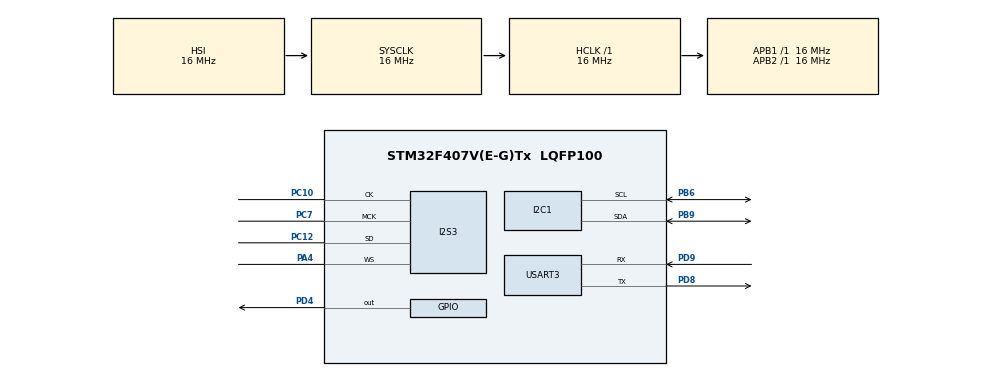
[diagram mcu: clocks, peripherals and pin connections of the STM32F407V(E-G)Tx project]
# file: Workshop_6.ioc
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Dma.Request0=SPI3_TX
Dma.SPI3_TX.0.Direction=DMA_MEMORY_TO_PERIPH
Dma.SPI3_TX.0.FIFOMode=DMA_FIFOMODE_ENABLE
Dma.SPI3_TX.0.FIFOThreshold=DMA_FIFO_THRESHOLD_FULL
Dma.SPI3_TX.0.Instance=DMA1_Stream5
Dma.SPI3_TX.0.MemBurst=DMA_MBURST_SINGLE
Dma.SPI3_TX.0.MemDataAlignment=DMA_MDATAALIGN_HALFWORD
Dma.SPI3_TX.0.MemInc=DMA_MINC_ENABLE
Dma.SPI3_TX.0.Mode=DMA_CIRCULAR
Dma.SPI3_TX.0.PeriphBurst=DMA_PBURST_SINGLE
Dma.SPI3_TX.0.PeriphDataAlignment=DMA_PDATAALIGN_HALFWORD
Dma.SPI3_TX.0.PeriphInc=DMA_PINC_DISABLE
Dma.SPI3_TX.0.Priority=DMA_PRIORITY_LOW
I2S3.AudioFreq=I2S_AUDIOFREQ_48K
I2S3.ErrorAudioFreq=-2.34 %
I2S3.FullDuplexMode=I2S_FULLDUPLEXMODE_DISABLE
I2S3.Instance=SPI$Index
I2S3.RealAudioFreq=46.875 KHz
I2S3.VirtualMode=I2S_MODE_MASTER
Mcu.Family=STM32F4
Mcu.Name=STM32F407V(E-G)Tx
Mcu.Package=LQFP100
NVIC.DMA1_Stream5_IRQn=true\:0\:0\:false\:false\:true\:false\:true\:true
NVIC.PriorityGroup=NVIC_PRIORITYGROUP_4
PA4.Mode=Half_Duplex_Master
PA4.Signal=I2S3_WS
PB6.Mode=I2C
PB6.Signal=I2C1_SCL
PB9.Mode=I2C
PB9.Signal=I2C1_SDA
PC10.Mode=Half_Duplex_Master
PC10.Signal=I2S3_CK
PC12.Mode=Half_Duplex_Master
PC12.Signal=I2S3_SD
PC7.Mode=Master_Clock_Activated
PC7.Signal=I2S3_MCK
PD4.Signal=GPIO_Output
PD8.Mode=Asynchronous
PD8.Signal=USART3_TX
PD9.Mode=Asynchronous
PD9.Signal=USART3_RX
ProjectManager.HeapSize=0x200
ProjectManager.StackSize=0x400
ProjectManager.TargetToolchain=STM32CubeIDE
RCC.AHBFreq_Value=16000000
RCC.APB1Freq_Value=16000000
RCC.APB2Freq_Value=16000000
RCC.CortexFreq_Value=16000000
RCC.HSE_VALUE=25000000
RCC.HSI_VALUE=16000000
RCC.LSE_VALUE=32768
RCC.SYSCLKFreq_VALUE=16000000
RCC.VCOOutputFreq_Value=192000000
USART3.VirtualMode=VM_ASYNC
board=custom

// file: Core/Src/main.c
/* USER CODE BEGIN Header */
/**
  ******************************************************************************
  * @file           : main.c
  * @brief          : Main program body
  ******************************************************************************
  * @attention
  *
  * Copyright (c) 2024 STMicroelectronics.
  * All rights reserved.
  *
  * This software is licensed under terms that can be found in the LICENSE file
  * in the root directory of this software component.
  * If no LICENSE file comes with this software, it is provided AS-IS.
  *
  ******************************************************************************
  */
/* USER CODE END Header */
#include "main.h"
/* USER CODE BEGIN Includes */
#include "dac.h"
/* USER CODE END Includes */

/* USER CODE BEGIN PD */
#define FIRST_LETTER_A 			97
#define LAST_LETTER_Z			122
/* USER CODE END PD */

I2C_HandleTypeDef hi2c1;

I2S_HandleTypeDef hi2s3;
DMA_HandleTypeDef hdma_spi3_tx;

UART_HandleTypeDef huart3;

/* USER CODE BEGIN PV */

int16_t dataI2S[100] = {0};
const soundToneType toneLookup[22] = {
    C4, C5, D5, E5, F5, G5, A5, B5,
    C6, D6, E6, F6, G6, A6, B6,
    C7, D7, E7, F7, G7, A7, B7
};
/* USER CODE END PV */

void SystemClock_Config(void);
static void MX_GPIO_Init(void);
static void MX_DMA_Init(void);
static void MX_I2C1_Init(void);
static void MX_I2S3_Init(void);
static void MX_USART3_UART_Init(void);

int main(void)
{

  /* MCU Configuration--------------------------------------------------------*/

  /* Reset of all peripherals, Initializes the Flash interface and the Systick. */
  HAL_Init();

  /* Configure the system clock */
  SystemClock_Config();

  /* Initialize all configured peripherals */
  MX_GPIO_Init();
  MX_DMA_Init();
  MX_I2C1_Init();
  MX_I2S3_Init();
  MX_USART3_UART_Init();
  /* USER CODE BEGIN 2 */

  CS43L22_Init();

  //Transmit empty data
  HAL_I2S_Transmit_DMA(&hi2s3, (uint16_t *)dataI2S, 100);

  /* USER CODE END 2 */

  /* Infinite loop */
  /* USER CODE BEGIN WHILE */
  CS43L22_StartMelody();
  while (1)
  {
      uint8_t rcvBuf[1];
      HAL_StatusTypeDef result;
      result = HAL_UART_Receive(&huart3, rcvBuf, 1, 10);

      if (result == HAL_OK )
      {
          for (int i = C4; i < MAX_VALUE; i++)
          {
        	  if (rcvBuf[0] >= FIRST_LETTER_A && rcvBuf[0] <= LAST_LETTER_Z)
        	  {
        	      soundToneType tone = toneLookup[rcvBuf[0] - FIRST_LETTER_A];
        	      CS43L22_Beep(tone, 300); // Beep with a constant duration of 1000
        	      break;
        	  }
          }
      }
    /* USER CODE END WHILE */

  }
}

void SystemClock_Config(void)
{
  RCC_OscInitTypeDef RCC_OscInitStruct = {0};
  RCC_ClkInitTypeDef RCC_ClkInitStruct = {0};

  /** Macro to configure the PLL multiplication factor
  */
  __HAL_RCC_PLL_PLLM_CONFIG(16);

  /** Macro to configure the PLL clock source
  */
  __HAL_RCC_PLL_PLLSOURCE_CONFIG(RCC_PLLSOURCE_HSI);

  /** Configure the main internal regulator output voltage
  */
  __HAL_RCC_PWR_CLK_ENABLE();
  __HAL_PWR_VOLTAGESCALING_CONFIG(PWR_REGULATOR_VOLTAGE_SCALE1);

  /** Initializes the RCC Oscillators according to the specified parameters
  * in the RCC_OscInitTypeDef structure.
  */
  RCC_OscInitStruct.OscillatorType = RCC_OSCILLATORTYPE_HSI;
  RCC_OscInitStruct.HSIState = RCC_HSI_ON;
  RCC_OscInitStruct.HSICalibrationValue = RCC_HSICALIBRATION_DEFAULT;
  RCC_OscInitStruct.PLL.PLLState = RCC_PLL_NONE;
  RCC_OscInitStruct.PLL.PLLSource = RCC_PLLSOURCE_HSI;
  if (HAL_RCC_OscConfig(&RCC_OscInitStruct) != HAL_OK)
  {
    Error_Handler();
  }

  /** Initializes the CPU, AHB and APB buses clocks
  */
  RCC_ClkInitStruct.ClockType = RCC_CLOCKTYPE_HCLK|RCC_CLOCKTYPE_SYSCLK
                              |RCC_CLOCKTYPE_PCLK1|RCC_CLOCKTYPE_PCLK2;
  RCC_ClkInitStruct.SYSCLKSource = RCC_SYSCLKSOURCE_HSI;
  RCC_ClkInitStruct.AHBCLKDivider = RCC_SYSCLK_DIV1;
  RCC_ClkInitStruct.APB1CLKDivider = RCC_HCLK_DIV1;
  RCC_ClkInitStruct.APB2CLKDivider = RCC_HCLK_DIV1;

  if (HAL_RCC_ClockConfig(&RCC_ClkInitStruct, FLASH_LATENCY_0) != HAL_OK)
  {
    Error_Handler();
  }
}

static void MX_I2C1_Init(void)
{

  hi2c1.Instance = I2C1;
  hi2c1.Init.ClockSpeed = 100000;
  hi2c1.Init.DutyCycle = I2C_DUTYCYCLE_2;
  hi2c1.Init.OwnAddress1 = 0;
  hi2c1.Init.AddressingMode = I2C_ADDRESSINGMODE_7BIT;
  hi2c1.Init.DualAddressMode = I2C_DUALADDRESS_DISABLE;
  hi2c1.Init.OwnAddress2 = 0;
  hi2c1.Init.GeneralCallMode = I2C_GENERALCALL_DISABLE;
  hi2c1.Init.NoStretchMode = I2C_NOSTRETCH_DISABLE;
  if (HAL_I2C_Init(&hi2c1) != HAL_OK)
  {
    Error_Handler();
  }

}

static void MX_I2S3_Init(void)
{

  hi2s3.Instance = SPI3;
  hi2s3.Init.Mode = I2S_MODE_MASTER_TX;
  hi2s3.Init.Standard = I2S_STANDARD_PHILIPS;
  hi2s3.Init.DataFormat = I2S_DATAFORMAT_16B;
  hi2s3.Init.MCLKOutput = I2S_MCLKOUTPUT_ENABLE;
  hi2s3.Init.AudioFreq = I2S_AUDIOFREQ_48K;
  hi2s3.Init.CPOL = I2S_CPOL_LOW;
  hi2s3.Init.ClockSource = I2S_CLOCK_PLL;
  hi2s3.Init.FullDuplexMode = I2S_FULLDUPLEXMODE_DISABLE;
  if (HAL_I2S_Init(&hi2s3) != HAL_OK)
  {
    Error_Handler();
  }

}

static void MX_USART3_UART_Init(void)
{

  huart3.Instance = USART3;
  huart3.Init.BaudRate = 115200;
  huart3.Init.WordLength = UART_WORDLENGTH_8B;
  huart3.Init.StopBits = UART_STOPBITS_1;
  huart3.Init.Parity = UART_PARITY_NONE;
  huart3.Init.Mode = UART_MODE_TX_RX;
  huart3.Init.HwFlowCtl = UART_HWCONTROL_NONE;
  huart3.Init.OverSampling = UART_OVERSAMPLING_16;
  if (HAL_UART_Init(&huart3) != HAL_OK)
  {
    Error_Handler();
  }

}

static void MX_DMA_Init(void)
{

  /* DMA controller clock enable */
  __HAL_RCC_DMA1_CLK_ENABLE();

  /* DMA interrupt init */
  /* DMA1_Stream5_IRQn interrupt configuration */
  HAL_NVIC_SetPriority(DMA1_Stream5_IRQn, 0, 0);
  HAL_NVIC_EnableIRQ(DMA1_Stream5_IRQn);

}

static void MX_GPIO_Init(void)
{
  GPIO_InitTypeDef GPIO_InitStruct = {0};

  /* GPIO Ports Clock Enable */
  __HAL_RCC_GPIOA_CLK_ENABLE();
  __HAL_RCC_GPIOD_CLK_ENABLE();
  __HAL_RCC_GPIOC_CLK_ENABLE();
  __HAL_RCC_GPIOB_CLK_ENABLE();

  /*Configure GPIO pin Output Level */
  HAL_GPIO_WritePin(GPIOD, GPIO_PIN_4, GPIO_PIN_RESET);

  /*Configure GPIO pin : PD4 */
  GPIO_InitStruct.Pin = GPIO_PIN_4;
  GPIO_InitStruct.Mode = GPIO_MODE_OUTPUT_PP;
  GPIO_InitStruct.Pull = GPIO_NOPULL;
  GPIO_InitStruct.Speed = GPIO_SPEED_FREQ_LOW;
  HAL_GPIO_Init(GPIOD, &GPIO_InitStruct);

}

void Error_Handler(void)
{
  __disable_irq();
  while (1)
  {
  }
}
